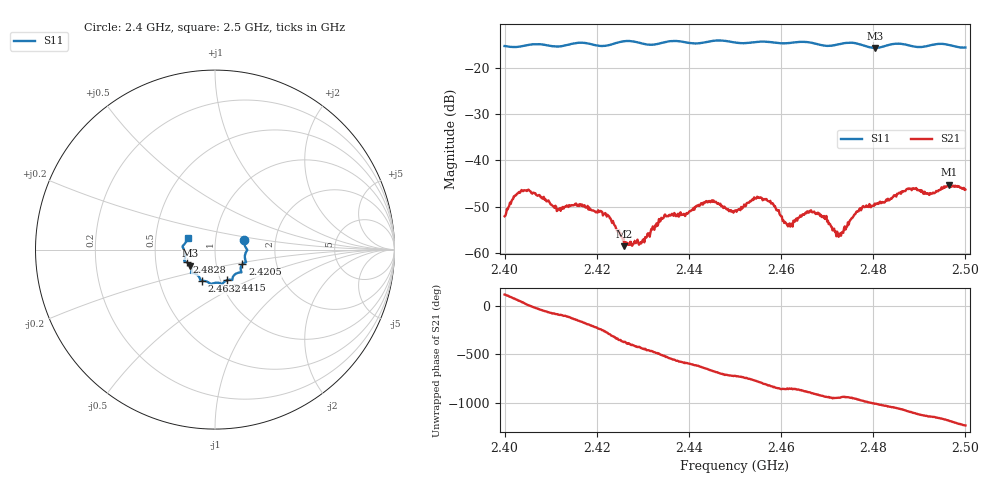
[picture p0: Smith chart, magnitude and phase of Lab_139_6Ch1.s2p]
# Hz S RI R 50
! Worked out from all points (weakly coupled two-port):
!   601 points, 2.4 GHz to 2.5 GHz, reference 50 ohm
!   highest |S21| = -45.21 dB at 2.4965 GHz (marker M1); lowest = -58.5 dB at 2.426 GHz (marker M2)
!   lowest |S11| = -15.7 dB at 2.4803 GHz (marker M3), VSWR 1.39, Z = 37.4 - j6.84 ohm
!   |S11| at or under -10 dB: start of sweep to end of sweep
!   S12 and S22 are empty: the file has one direction only
!   S11 on the Smith chart (normalised r, x): 2.4 GHz: 1.38, +0.15; 2.4205 GHz: 1.34, -0.23; 2.4415 GHz: 1.07, -0.38; 2.4632 GHz: 0.82, -0.29; 2.4828 GHz: 0.72, -0.10; 2.5 GHz: 0.73, +0.10
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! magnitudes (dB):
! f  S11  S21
! 2.4 GHz  -15.3  -52.1
! 2.4042 GHz  -15.3  -46.4
! 2.4117 GHz  -15.4  -50.6
! 2.4167 GHz  -14.6  -49.8
! 2.4205 GHz  -15.2  -51.1
! 2.426 GHz  -14.2  -58.5
! 2.4298 GHz  -14.8  -57.5
! 2.4333 GHz  -14.8  -53.8
! 2.4415 GHz  -14.8  -50.0
! 2.4453 GHz  -14.2  -48.7
! 2.45 GHz  -14.5  -50.9
! 2.4553 GHz  -14.4  -48.1
! 2.4612 GHz  -14.7  -53.7
! 2.4632 GHz  -14.5  -52.8
! 2.4667 GHz  -14.6  -51.1
! 2.4725 GHz  -14.9  -56.5
! 2.4767 GHz  -14.8  -50.9
! 2.4803 GHz  -15.7  -49.3
! 2.4828 GHz  -15.2  -48.5
! 2.4833 GHz  -15.1  -48.6
! 2.4965 GHz  -15.1  -45.2
! 2.5 GHz  -15.6  -46.3
